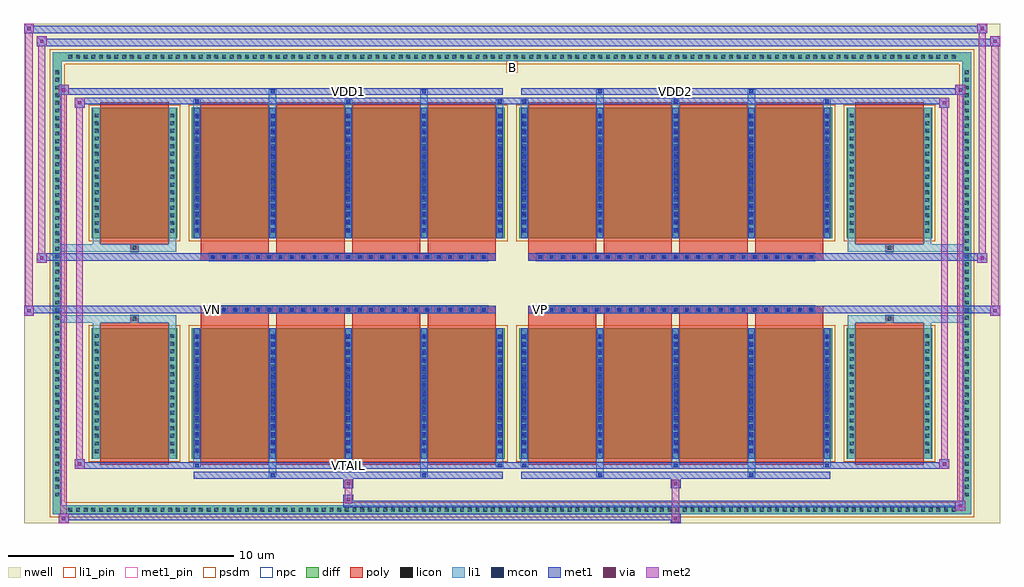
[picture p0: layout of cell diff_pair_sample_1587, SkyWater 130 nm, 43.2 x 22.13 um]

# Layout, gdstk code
import gdstk
lib = gdstk.Library(unit=1e-6, precision=5e-09)
def R(c, l, rs):  # rectangles x0, y0, x1, y1
    for r in rs: c.add(gdstk.rectangle(r[:2], r[2:], *l))
def A(c, l, x, y, w, h, nx, ny, dx, dy):  # array of equal rectangles
    R(c, l, [(x+i*dx, y+j*dy, x+i*dx+w, y+j*dy+h) for i in range(nx) for j in range(ny)])
def P(c, l, *ps):  # polygons
    for p in ps: c.add(gdstk.Polygon(p, *l))
nwell = (64, 20)
diff = (65, 20)
poly = (66, 20)
licon = (66, 44)
li1_pin = (67, 16)
li1 = (67, 20)
mcon = (67, 44)
met1_pin = (68, 16)
met1 = (68, 20)
via = (68, 44)
met2 = (69, 20)
psdm = (94, 20)
npc = (95, 20)

diff_pair_sample_1587 = lib.new_cell('diff_pair_sample_1587')
R(diff_pair_sample_1587, nwell, [(-21.6,-10.63,21.6,11.5), (-18.92,-8.82,-0.01,-0.8), (0.01,-8.82,18.92,-0.8), (-18.92,0.8,-0.01,8.82), (0.01,0.8,18.92,8.82)])
A(diff_pair_sample_1587, diff, -19.755, -10.23, 0.41, 0.41, 116, 2, 0.34, 20.05)
A(diff_pair_sample_1587, diff, -20.33, -9.555, 0.41, 0.41, 1, 56, 0, 0.34)
A(diff_pair_sample_1587, diff, 19.92, -9.555, 0.41, 0.41, 1, 56, 0, 0.34)
R(diff_pair_sample_1587, diff, [(-19.755,-10.23,19.755,-9.82), (-20.33,-9.555,-19.92,9.555), (19.92,-9.555,20.33,9.555), (-18.61,-7.775,-14.81,-1.985), (-14.17,-7.775,-0.32,-1.985), (0.32,-7.775,14.17,-1.985), (14.81,-7.775,18.61,-1.985), (-18.61,1.985,-14.81,7.775), (-14.17,1.985,-0.32,7.775), (0.32,1.985,14.17,7.775), (14.81,1.985,18.61,7.775), (-19.755,9.82,19.755,10.23)])
P(diff_pair_sample_1587, diff, [(20.33,10.23),(-20.33,10.23),(-20.33,-9.82),(-19.92,-9.82),(-19.92,9.82),(19.92,9.82),(19.92,-9.82),(-19.92,-9.82),(-20.33,-9.82),(-20.33,-10.23),(20.33,-10.23)])
A(diff_pair_sample_1587, poly, -13.78, -8.025, 3.02, 6.29, 4, 2, 3.35, 9.76)
A(diff_pair_sample_1587, poly, 0.71, -8.025, 3.02, 6.29, 4, 2, 3.35, 9.76)
A(diff_pair_sample_1587, poly, -13.78, -1.735, 3.02, 0.405, 4, 2, 3.35, 3.065)
A(diff_pair_sample_1587, poly, 0.71, -1.735, 3.02, 0.405, 4, 2, 3.35, 3.065)
A(diff_pair_sample_1587, poly, -13.41, -1.33, 0.33, 0.33, 25, 2, 0.5, 2.33)
A(diff_pair_sample_1587, poly, 1.08, -1.33, 0.33, 0.33, 25, 2, 0.5, 2.33)
R(diff_pair_sample_1587, poly, [(-18.22,-8.025,-15.2,-1.735), (15.2,-8.025,18.22,-1.735), (-16.875,-1.735,-16.545,-1.405), (-16.875,-1.735,-16.545,-1.405), (16.545,-1.735,16.875,-1.405), (16.545,-1.735,16.875,-1.405), (-13.78,-1.33,-0.71,-1), (0.71,-1.33,13.78,-1), (-13.78,1,-0.71,1.33), (0.71,1,13.78,1.33), (-16.875,1.405,-16.545,1.735), (-16.875,1.405,-16.545,1.735), (16.545,1.405,16.875,1.735), (16.545,1.405,16.875,1.735), (-18.22,1.735,-15.2,8.025), (15.2,1.735,18.22,8.025)])
A(diff_pair_sample_1587, licon, -19.635, -10.11, 0.17, 0.17, 116, 2, 0.34, 20.05)
A(diff_pair_sample_1587, licon, -20.21, -9.435, 0.17, 0.17, 1, 56, 0, 0.34)
A(diff_pair_sample_1587, licon, 20.04, -9.435, 0.17, 0.17, 1, 56, 0, 0.34)
A(diff_pair_sample_1587, licon, -18.47, -7.515, 0.17, 0.17, 1, 16, 0, 0.34)
A(diff_pair_sample_1587, licon, -15.12, -7.515, 0.17, 0.17, 1, 16, 0, 0.34)
A(diff_pair_sample_1587, licon, -14.03, -7.515, 0.17, 0.17, 5, 16, 3.35, 0.34)
A(diff_pair_sample_1587, licon, 0.46, -7.515, 0.17, 0.17, 5, 16, 3.35, 0.34)
A(diff_pair_sample_1587, licon, 14.95, -7.515, 0.17, 0.17, 1, 16, 0, 0.34)
A(diff_pair_sample_1587, licon, 18.3, -7.515, 0.17, 0.17, 1, 16, 0, 0.34)
A(diff_pair_sample_1587, licon, -13.33, -1.25, 0.17, 0.17, 25, 2, 0.5, 2.33)
A(diff_pair_sample_1587, licon, 1.16, -1.25, 0.17, 0.17, 25, 2, 0.5, 2.33)
A(diff_pair_sample_1587, licon, -18.47, 2.245, 0.17, 0.17, 1, 16, 0, 0.34)
A(diff_pair_sample_1587, licon, -15.12, 2.245, 0.17, 0.17, 1, 16, 0, 0.34)
A(diff_pair_sample_1587, licon, -14.03, 2.245, 0.17, 0.17, 5, 16, 3.35, 0.34)
A(diff_pair_sample_1587, licon, 0.46, 2.245, 0.17, 0.17, 5, 16, 3.35, 0.34)
A(diff_pair_sample_1587, licon, 14.95, 2.245, 0.17, 0.17, 1, 16, 0, 0.34)
A(diff_pair_sample_1587, licon, 18.3, 2.245, 0.17, 0.17, 1, 16, 0, 0.34)
R(diff_pair_sample_1587, licon, [(-16.795,-1.655,-16.625,-1.485), (16.625,-1.655,16.795,-1.485), (-16.795,1.485,-16.625,1.655), (16.625,1.485,16.795,1.655)])
R(diff_pair_sample_1587, li1_pin, [(-0.25,9.32,0.25,9.82)])
A(diff_pair_sample_1587, li1, -19.715, -10.19, 0.33, 0.33, 116, 2, 0.34, 20.05)
A(diff_pair_sample_1587, li1, -20.29, -9.515, 0.33, 0.33, 1, 56, 0, 0.34)
A(diff_pair_sample_1587, li1, 19.96, -9.515, 0.33, 0.33, 1, 56, 0, 0.34)
A(diff_pair_sample_1587, li1, -14.11, -8.15, 0.33, 0.375, 3, 2, 6.7, 15.925)
A(diff_pair_sample_1587, li1, -14.03, -8.15, 0.17, 0.17, 3, 2, 6.7, 16.13)
A(diff_pair_sample_1587, li1, 0.38, -8.15, 0.33, 0.375, 3, 2, 6.7, 15.925)
A(diff_pair_sample_1587, li1, 0.46, -8.15, 0.17, 0.17, 3, 2, 6.7, 16.13)
A(diff_pair_sample_1587, li1, -14.11, -7.775, 0.33, 5.79, 5, 2, 3.35, 9.76)
A(diff_pair_sample_1587, li1, 0.38, -7.775, 0.33, 5.79, 5, 2, 3.35, 9.76)
A(diff_pair_sample_1587, li1, -18.55, -7.595, 0.33, 0.33, 1, 16, 0, 0.34)
A(diff_pair_sample_1587, li1, -15.2, -7.595, 0.33, 0.33, 1, 16, 0, 0.34)
A(diff_pair_sample_1587, li1, -14.11, -7.595, 0.33, 0.33, 5, 16, 3.35, 0.34)
A(diff_pair_sample_1587, li1, 0.38, -7.595, 0.33, 0.33, 5, 16, 3.35, 0.34)
A(diff_pair_sample_1587, li1, 14.87, -7.595, 0.33, 0.33, 1, 16, 0, 0.34)
A(diff_pair_sample_1587, li1, 18.22, -7.595, 0.33, 0.33, 1, 16, 0, 0.34)
A(diff_pair_sample_1587, li1, -14.03, -7.485, 0.17, 0.17, 5, 15, 3.35, 0.36)
A(diff_pair_sample_1587, li1, -14.03, -7.485, 0.17, 5.21, 5, 2, 3.35, 9.76)
A(diff_pair_sample_1587, li1, 0.46, -7.485, 0.17, 0.17, 5, 15, 3.35, 0.36)
A(diff_pair_sample_1587, li1, 0.46, -7.485, 0.17, 5.21, 5, 2, 3.35, 9.76)
A(diff_pair_sample_1587, li1, -13.41, -1.33, 0.33, 0.33, 25, 2, 0.5, 2.33)
A(diff_pair_sample_1587, li1, 1.08, -1.33, 0.33, 0.33, 25, 2, 0.5, 2.33)
A(diff_pair_sample_1587, li1, -18.55, 2.165, 0.33, 0.33, 1, 16, 0, 0.34)
A(diff_pair_sample_1587, li1, -15.2, 2.165, 0.33, 0.33, 1, 16, 0, 0.34)
A(diff_pair_sample_1587, li1, -14.11, 2.165, 0.33, 0.33, 5, 16, 3.35, 0.34)
A(diff_pair_sample_1587, li1, 0.38, 2.165, 0.33, 0.33, 5, 16, 3.35, 0.34)
A(diff_pair_sample_1587, li1, 14.87, 2.165, 0.33, 0.33, 1, 16, 0, 0.34)
A(diff_pair_sample_1587, li1, 18.22, 2.165, 0.33, 0.33, 1, 16, 0, 0.34)
A(diff_pair_sample_1587, li1, -14.03, 2.275, 0.17, 0.17, 5, 15, 3.35, 0.36)
A(diff_pair_sample_1587, li1, 0.46, 2.275, 0.17, 0.17, 5, 15, 3.35, 0.36)
R(diff_pair_sample_1587, li1, [(-20.33,-10.23,-19.92,-9.82), (-20.33,-10.23,-19.92,-9.82), (-19.92,-10.23,19.92,-9.82), (19.92,-10.23,20.33,-9.82), (19.92,-10.23,20.33,-9.82), (-20.33,-9.82,-19.92,9.82), (19.92,-9.82,20.33,9.82), (-10.76,-8.58,-10.43,-7.775), (-10.68,-8.58,-10.51,-8.41), (-4.06,-8.58,-3.73,-7.775), (-3.98,-8.58,-3.81,-8.41), (3.73,-8.58,4.06,-7.775), (3.81,-8.58,3.98,-8.41), (10.43,-8.58,10.76,-7.775), (10.51,-8.58,10.68,-8.41), (-18.55,-7.775,-18.22,-1.985), (-15.2,-7.775,-14.87,-1.985), (14.87,-7.775,15.2,-1.985), (18.22,-7.775,18.55,-1.985), (-18.55,-1.985,-18.22,-1.405), (-15.2,-1.985,-14.87,-1.405), (14.87,-1.985,15.2,-1.405), (18.22,-1.985,18.55,-1.405), (-20.33,-1.735,-16.875,-1.405), (-18.55,-1.735,-16.875,-1.405), (-16.875,-1.735,-16.545,-1.405), (-16.545,-1.735,-14.87,-1.405), (14.87,-1.735,16.545,-1.405), (16.545,-1.735,16.875,-1.405), (16.545,-1.735,20.33,-1.405), (16.875,-1.735,18.55,-1.405), (-20.33,1.405,-16.875,1.735), (-18.55,1.405,-16.875,1.735), (-18.55,1.405,-18.22,1.985), (-16.875,1.405,-16.545,1.735), (-16.545,1.405,-14.87,1.735), (-15.2,1.405,-14.87,1.985), (14.87,1.405,16.545,1.735), (14.87,1.405,15.2,1.985), (16.545,1.405,16.875,1.735), (16.545,1.405,20.33,1.735), (16.875,1.405,18.55,1.735), (18.22,1.405,18.55,1.985), (-18.55,1.985,-18.22,7.775), (-15.2,1.985,-14.87,7.775), (14.87,1.985,15.2,7.775), (18.22,1.985,18.55,7.775), (-10.76,7.775,-10.43,8.58), (-4.06,7.775,-3.73,8.58), (3.73,7.775,4.06,8.58), (10.43,7.775,10.76,8.58), (-10.68,8.41,-10.51,8.58), (-3.98,8.41,-3.81,8.58), (3.81,8.41,3.98,8.58), (10.51,8.41,10.68,8.58), (-20.33,9.82,-19.92,10.23), (-20.33,9.82,-19.92,10.23), (-19.92,9.82,19.92,10.23), (19.92,9.82,20.33,10.23), (19.92,9.82,20.33,10.23)])
A(diff_pair_sample_1587, mcon, -14.03, -8.15, 0.17, 0.17, 3, 2, 6.7, 16.13)
A(diff_pair_sample_1587, mcon, 0.46, -8.15, 0.17, 0.17, 3, 2, 6.7, 16.13)
A(diff_pair_sample_1587, mcon, -14.03, -7.485, 0.17, 0.17, 5, 15, 3.35, 0.36)
A(diff_pair_sample_1587, mcon, 0.46, -7.485, 0.17, 0.17, 5, 15, 3.35, 0.36)
A(diff_pair_sample_1587, mcon, -13.33, -1.25, 0.17, 0.17, 25, 2, 0.5, 2.33)
A(diff_pair_sample_1587, mcon, 1.16, -1.25, 0.17, 0.17, 25, 2, 0.5, 2.33)
A(diff_pair_sample_1587, mcon, -14.03, 2.275, 0.17, 0.17, 5, 15, 3.35, 0.36)
A(diff_pair_sample_1587, mcon, 0.46, 2.275, 0.17, 0.17, 5, 15, 3.35, 0.36)
R(diff_pair_sample_1587, mcon, [(-10.68,-8.58,-10.51,-8.41), (-3.98,-8.58,-3.81,-8.41), (3.81,-8.58,3.98,-8.41), (10.51,-8.58,10.68,-8.41), (-10.68,8.41,-10.51,8.58), (-3.98,8.41,-3.81,8.58), (3.81,8.41,3.98,8.58), (10.51,8.41,10.68,8.58)])
R(diff_pair_sample_1587, met1_pin, [(-7.38,-8.19,-7.11,-7.92), (-13.38,-1.29,-13.11,-1.02), (1.11,-1.29,1.38,-1.02), (-7.38,8.37,-7.11,8.64), (7.11,8.37,7.38,8.64)])
A(diff_pair_sample_1587, met1, -14.09, -8.21, 0.29, 0.29, 3, 2, 6.7, 16.13)
A(diff_pair_sample_1587, met1, 0.4, -8.21, 0.29, 0.29, 3, 2, 6.7, 16.13)
A(diff_pair_sample_1587, met1, -14.09, -7.775, 0.29, 5.79, 5, 2, 3.35, 9.76)
A(diff_pair_sample_1587, met1, 0.4, -7.775, 0.29, 5.79, 5, 2, 3.35, 9.76)
A(diff_pair_sample_1587, met1, -14.09, -7.545, 0.29, 0.29, 5, 15, 3.35, 0.36)
A(diff_pair_sample_1587, met1, 0.4, -7.545, 0.29, 0.29, 5, 15, 3.35, 0.36)
A(diff_pair_sample_1587, met1, -13.39, -1.31, 0.29, 0.29, 25, 2, 0.5, 2.33)
A(diff_pair_sample_1587, met1, 1.1, -1.31, 0.29, 0.29, 25, 2, 0.5, 2.33)
A(diff_pair_sample_1587, met1, -14.09, 2.215, 0.29, 0.29, 5, 15, 3.35, 0.36)
A(diff_pair_sample_1587, met1, 0.4, 2.215, 0.29, 0.29, 5, 15, 3.35, 0.36)
R(diff_pair_sample_1587, met1, [(-20.06,-10.63,-19.63,-10.2), (7.03,-10.63,7.46,-10.2), (-20.06,-10.49,7.46,-10.2), (19.63,-10.06,20.06,-9.63), (-7.46,-9.92,20.06,-9.63), (-7.46,-9.78,-7.03,-9.35), (-7.46,-9.07,-7.03,-8.64), (7.03,-9.07,7.46,-8.64), (-14.09,-8.64,-0.4,-8.35), (-10.74,-8.64,-10.45,-8.35), (-4.04,-8.64,-3.75,-8.35), (0.4,-8.64,14.09,-8.35), (3.75,-8.64,4.04,-8.35), (10.45,-8.64,10.74,-8.35), (-19.35,-8.21,-18.92,-7.78), (-19.35,-8.21,-14.09,-7.92), (-14.09,-8.21,-0.4,-7.92), (-0.4,-8.21,0.4,-7.92), (0.4,-8.21,14.09,-7.92), (14.09,-8.21,19.35,-7.92), (18.92,-8.21,19.35,-7.78), (-21.6,-1.43,-21.17,-1), (21.17,-1.43,21.6,-1), (-21.6,-1.33,-0.71,-1), (-13.78,-1.33,-0.71,-1), (0.71,-1.33,13.78,-1), (0.71,-1.33,21.6,-1), (-21.03,0.9,-20.6,1.33), (20.6,0.9,21.03,1.33), (-21.03,1,-13.78,1.33), (-13.78,1,-0.71,1.33), (0.71,1,13.78,1.33), (13.78,1,21.03,1.33), (-19.35,7.78,-18.92,8.21), (18.92,7.78,19.35,8.21), (-19.35,7.92,-14.09,8.21), (-14.09,7.92,-0.4,8.21), (-0.4,7.92,0.4,8.21), (0.4,7.92,14.09,8.21), (14.09,7.92,19.35,8.21), (-20.06,8.35,-19.63,8.78), (-20.06,8.35,-14.09,8.64), (-14.09,8.35,-0.4,8.64), (-10.74,8.35,-10.45,8.64), (-4.04,8.35,-3.75,8.64), (0.4,8.35,14.09,8.64), (3.75,8.35,4.04,8.64), (10.45,8.35,10.74,8.64), (14.09,8.35,20.06,8.64), (19.63,8.35,20.06,8.78), (-21.03,10.5,-20.6,10.93), (-21.03,10.5,-18.92,10.83), (-18.92,10.5,18.92,10.83), (18.92,10.5,21.6,10.83), (21.17,10.5,21.6,10.93), (-21.6,11.07,-21.17,11.5), (-21.6,11.07,-18.92,11.4), (-18.92,11.07,18.92,11.4), (18.92,11.07,21.03,11.4), (20.6,11.07,21.03,11.5)])
R(diff_pair_sample_1587, via, [(-19.92,-10.49,-19.77,-10.34), (7.17,-10.49,7.32,-10.34), (19.77,-9.92,19.92,-9.77), (-7.32,-9.64,-7.17,-9.49), (-7.32,-8.93,-7.17,-8.78), (7.17,-8.93,7.32,-8.78), (-19.21,-8.07,-19.06,-7.92), (19.06,-8.07,19.21,-7.92), (-21.46,-1.29,-21.31,-1.14), (21.31,-1.29,21.46,-1.14), (-20.89,1.04,-20.74,1.19), (20.74,1.04,20.89,1.19), (-19.21,7.92,-19.06,8.07), (19.06,7.92,19.21,8.07), (-19.92,8.49,-19.77,8.64), (19.77,8.49,19.92,8.64), (-20.89,10.64,-20.74,10.79), (21.31,10.64,21.46,10.79), (-21.46,11.21,-21.31,11.36), (20.74,11.21,20.89,11.36)])
R(diff_pair_sample_1587, met2, [(-20.06,-10.63,-19.63,-10.2), (-19.99,-10.63,-19.7,8.78), (-19.7,-10.63,-19.63,-10.2), (-20.01,-10.58,-19.68,-10.25), (7.08,-10.58,7.41,-10.25), (7.08,-10.25,7.41,-9.02), (19.63,-10.06,20.06,-9.63), (19.7,-10.06,19.99,8.78), (19.99,-10.06,20.06,-9.63), (19.68,-10.01,20.01,-9.68), (-7.41,-9.73,-7.08,-9.4), (-7.41,-9.4,-7.08,-9.02), (-7.41,-9.02,-7.08,-8.69), (7.08,-9.02,7.41,-8.69), (-19.35,-8.21,-18.92,-7.78), (-19.28,-8.21,-18.99,8.21), (-18.99,-8.21,-18.92,-7.78), (18.92,-8.21,19.35,-7.78), (18.99,-8.21,19.28,8.21), (19.28,-8.21,19.35,-7.78), (-19.3,-8.16,-18.97,-7.83), (18.97,-8.16,19.3,-7.83), (-21.6,-1.43,-21.17,-1), (-21.55,-1.43,-21.22,11.5), (-21.22,-1.43,-21.17,-1), (21.17,-1.43,21.6,-1), (21.22,-1.43,21.55,10.93), (21.55,-1.43,21.6,-1), (-21.55,-1.38,-21.22,-1.05), (21.22,-1.38,21.55,-1.05), (-21.03,0.9,-20.6,1.33), (-20.98,0.9,-20.65,10.93), (-20.65,0.9,-20.6,1.33), (20.6,0.9,21.03,1.33), (20.65,0.9,20.98,11.5), (20.98,0.9,21.03,1.33), (-20.98,0.95,-20.65,1.28), (20.65,0.95,20.98,1.28), (-19.35,7.78,-18.92,8.21), (-18.99,7.78,-18.92,8.21), (18.92,7.78,19.35,8.21), (19.28,7.78,19.35,8.21), (-19.3,7.83,-18.97,8.16), (18.97,7.83,19.3,8.16), (-20.06,8.35,-19.63,8.78), (-19.7,8.35,-19.63,8.78), (19.63,8.35,20.06,8.78), (19.99,8.35,20.06,8.78), (-20.01,8.4,-19.68,8.73), (19.68,8.4,20.01,8.73), (-21.03,10.5,-20.6,10.93), (-20.65,10.5,-20.6,10.93), (21.17,10.5,21.6,10.93), (21.55,10.5,21.6,10.93), (-20.98,10.55,-20.65,10.88), (21.22,10.55,21.55,10.88), (-21.6,11.07,-21.17,11.5), (-21.22,11.07,-21.17,11.5), (20.6,11.07,21.03,11.5), (20.98,11.07,21.03,11.5), (-21.55,11.12,-21.22,11.45), (20.65,11.12,20.98,11.45)])
R(diff_pair_sample_1587, psdm, [(-18.74,-7.905,-14.68,-1.855), (-14.3,-7.905,-0.19,-1.855), (0.19,-7.905,14.3,-1.855), (14.68,-7.905,18.74,-1.855), (-18.74,1.855,-14.68,7.905), (-14.3,1.855,-0.19,7.905), (0.19,1.855,14.3,7.905), (14.68,1.855,18.74,7.905)])
P(diff_pair_sample_1587, psdm, [(20.46,10.36),(-20.46,10.36),(-20.46,-9.69),(-19.79,-9.69),(-19.79,9.69),(19.79,9.69),(19.79,-9.69),(-19.79,-9.69),(-20.46,-9.69),(-20.46,-10.36),(20.46,-10.36)])
A(diff_pair_sample_1587, npc, -13.43, -1.35, 0.37, 0.37, 25, 2, 0.5, 2.33)
A(diff_pair_sample_1587, npc, 1.06, -1.35, 0.37, 0.37, 25, 2, 0.5, 2.33)
R(diff_pair_sample_1587, npc, [(-16.895,-1.755,-16.525,-1.385), (16.525,-1.755,16.895,-1.385), (-13.43,-1.35,-12.56,-0.98), (-13.43,-1.35,-12.56,-0.98), (-12.93,-1.35,-12.06,-0.98), (-12.93,-1.35,-12.06,-0.98), (-12.43,-1.35,-11.56,-0.98), (-12.43,-1.35,-11.56,-0.98), (-11.93,-1.35,-11.06,-0.98), (-11.93,-1.35,-11.06,-0.98), (-11.43,-1.35,-10.56,-0.98), (-11.43,-1.35,-10.56,-0.98), (-10.93,-1.35,-10.06,-0.98), (-10.93,-1.35,-10.06,-0.98), (-10.43,-1.35,-9.56,-0.98), (-10.43,-1.35,-9.56,-0.98), (-9.93,-1.35,-9.06,-0.98), (-9.93,-1.35,-9.06,-0.98), (-9.43,-1.35,-8.56,-0.98), (-9.43,-1.35,-8.56,-0.98), (-8.93,-1.35,-8.06,-0.98), (-8.93,-1.35,-8.06,-0.98), (-8.43,-1.35,-7.56,-0.98), (-8.43,-1.35,-7.56,-0.98), (-7.93,-1.35,-7.06,-0.98), (-7.93,-1.35,-7.06,-0.98), (-7.43,-1.35,-6.56,-0.98), (-7.43,-1.35,-6.56,-0.98), (-6.93,-1.35,-6.06,-0.98), (-6.93,-1.35,-6.06,-0.98), (-6.43,-1.35,-5.56,-0.98), (-6.43,-1.35,-5.56,-0.98), (-5.93,-1.35,-5.06,-0.98), (-5.93,-1.35,-5.06,-0.98), (-5.43,-1.35,-4.56,-0.98), (-5.43,-1.35,-4.56,-0.98), (-4.93,-1.35,-4.06,-0.98), (-4.93,-1.35,-4.06,-0.98), (-4.43,-1.35,-3.56,-0.98), (-4.43,-1.35,-3.56,-0.98), (-3.93,-1.35,-3.06,-0.98), (-3.93,-1.35,-3.06,-0.98), (-3.43,-1.35,-2.56,-0.98), (-3.43,-1.35,-2.56,-0.98), (-2.93,-1.35,-2.06,-0.98), (-2.93,-1.35,-2.06,-0.98), (-2.43,-1.35,-1.56,-0.98), (-2.43,-1.35,-1.56,-0.98), (-1.93,-1.35,-1.06,-0.98), (-1.93,-1.35,-1.06,-0.98), (1.06,-1.35,1.93,-0.98), (1.06,-1.35,1.93,-0.98), (1.56,-1.35,2.43,-0.98), (1.56,-1.35,2.43,-0.98), (2.06,-1.35,2.93,-0.98), (2.06,-1.35,2.93,-0.98), (2.56,-1.35,3.43,-0.98), (2.56,-1.35,3.43,-0.98), (3.06,-1.35,3.93,-0.98), (3.06,-1.35,3.93,-0.98), (3.56,-1.35,4.43,-0.98), (3.56,-1.35,4.43,-0.98), (4.06,-1.35,4.93,-0.98), (4.06,-1.35,4.93,-0.98), (4.56,-1.35,5.43,-0.98), (4.56,-1.35,5.43,-0.98), (5.06,-1.35,5.93,-0.98), (5.06,-1.35,5.93,-0.98), (5.56,-1.35,6.43,-0.98), (5.56,-1.35,6.43,-0.98), (6.06,-1.35,6.93,-0.98), (6.06,-1.35,6.93,-0.98), (6.56,-1.35,7.43,-0.98), (6.56,-1.35,7.43,-0.98), (7.06,-1.35,7.93,-0.98), (7.06,-1.35,7.93,-0.98), (7.56,-1.35,8.43,-0.98), (7.56,-1.35,8.43,-0.98), (8.06,-1.35,8.93,-0.98), (8.06,-1.35,8.93,-0.98), (8.56,-1.35,9.43,-0.98), (8.56,-1.35,9.43,-0.98), (9.06,-1.35,9.93,-0.98), (9.06,-1.35,9.93,-0.98), (9.56,-1.35,10.43,-0.98), (9.56,-1.35,10.43,-0.98), (10.06,-1.35,10.93,-0.98), (10.06,-1.35,10.93,-0.98), (10.56,-1.35,11.43,-0.98), (10.56,-1.35,11.43,-0.98), (11.06,-1.35,11.93,-0.98), (11.06,-1.35,11.93,-0.98), (11.56,-1.35,12.43,-0.98), (11.56,-1.35,12.43,-0.98), (12.06,-1.35,12.93,-0.98), (12.06,-1.35,12.93,-0.98), (12.56,-1.35,13.43,-0.98), (12.56,-1.35,13.43,-0.98), (-13.43,0.98,-12.56,1.35), (-13.43,0.98,-12.56,1.35), (-12.93,0.98,-12.06,1.35), (-12.93,0.98,-12.06,1.35), (-12.43,0.98,-11.56,1.35), (-12.43,0.98,-11.56,1.35), (-11.93,0.98,-11.06,1.35), (-11.93,0.98,-11.06,1.35), (-11.43,0.98,-10.56,1.35), (-11.43,0.98,-10.56,1.35), (-10.93,0.98,-10.06,1.35), (-10.93,0.98,-10.06,1.35), (-10.43,0.98,-9.56,1.35), (-10.43,0.98,-9.56,1.35), (-9.93,0.98,-9.06,1.35), (-9.93,0.98,-9.06,1.35), (-9.43,0.98,-8.56,1.35), (-9.43,0.98,-8.56,1.35), (-8.93,0.98,-8.06,1.35), (-8.93,0.98,-8.06,1.35), (-8.43,0.98,-7.56,1.35), (-8.43,0.98,-7.56,1.35), (-7.93,0.98,-7.06,1.35), (-7.93,0.98,-7.06,1.35), (-7.43,0.98,-6.56,1.35), (-7.43,0.98,-6.56,1.35), (-6.93,0.98,-6.06,1.35), (-6.93,0.98,-6.06,1.35), (-6.43,0.98,-5.56,1.35), (-6.43,0.98,-5.56,1.35), (-5.93,0.98,-5.06,1.35), (-5.93,0.98,-5.06,1.35), (-5.43,0.98,-4.56,1.35), (-5.43,0.98,-4.56,1.35), (-4.93,0.98,-4.06,1.35), (-4.93,0.98,-4.06,1.35), (-4.43,0.98,-3.56,1.35), (-4.43,0.98,-3.56,1.35), (-3.93,0.98,-3.06,1.35), (-3.93,0.98,-3.06,1.35), (-3.43,0.98,-2.56,1.35), (-3.43,0.98,-2.56,1.35), (-2.93,0.98,-2.06,1.35), (-2.93,0.98,-2.06,1.35), (-2.43,0.98,-1.56,1.35), (-2.43,0.98,-1.56,1.35), (-1.93,0.98,-1.06,1.35), (-1.93,0.98,-1.06,1.35), (1.06,0.98,1.93,1.35), (1.06,0.98,1.93,1.35), (1.56,0.98,2.43,1.35), (1.56,0.98,2.43,1.35), (2.06,0.98,2.93,1.35), (2.06,0.98,2.93,1.35), (2.56,0.98,3.43,1.35), (2.56,0.98,3.43,1.35), (3.06,0.98,3.93,1.35), (3.06,0.98,3.93,1.35), (3.56,0.98,4.43,1.35), (3.56,0.98,4.43,1.35), (4.06,0.98,4.93,1.35), (4.06,0.98,4.93,1.35), (4.56,0.98,5.43,1.35), (4.56,0.98,5.43,1.35), (5.06,0.98,5.93,1.35), (5.06,0.98,5.93,1.35), (5.56,0.98,6.43,1.35), (5.56,0.98,6.43,1.35), (6.06,0.98,6.93,1.35), (6.06,0.98,6.93,1.35), (6.56,0.98,7.43,1.35), (6.56,0.98,7.43,1.35), (7.06,0.98,7.93,1.35), (7.06,0.98,7.93,1.35), (7.56,0.98,8.43,1.35), (7.56,0.98,8.43,1.35), (8.06,0.98,8.93,1.35), (8.06,0.98,8.93,1.35), (8.56,0.98,9.43,1.35), (8.56,0.98,9.43,1.35), (9.06,0.98,9.93,1.35), (9.06,0.98,9.93,1.35), (9.56,0.98,10.43,1.35), (9.56,0.98,10.43,1.35), (10.06,0.98,10.93,1.35), (10.06,0.98,10.93,1.35), (10.56,0.98,11.43,1.35), (10.56,0.98,11.43,1.35), (11.06,0.98,11.93,1.35), (11.06,0.98,11.93,1.35), (11.56,0.98,12.43,1.35), (11.56,0.98,12.43,1.35), (12.06,0.98,12.93,1.35), (12.06,0.98,12.93,1.35), (12.56,0.98,13.43,1.35), (12.56,0.98,13.43,1.35), (-16.895,1.385,-16.525,1.755), (16.525,1.385,16.895,1.755)])
diff_pair_sample_1587.add(gdstk.Label('VTAIL', (-7.245,-8.055), layer=68, texttype=5))
diff_pair_sample_1587.add(gdstk.Label('VN', (-13.245,-1.155), layer=68, texttype=5))
diff_pair_sample_1587.add(gdstk.Label('VP', (1.245,-1.155), layer=68, texttype=5))
diff_pair_sample_1587.add(gdstk.Label('B', (0,9.57), layer=67, texttype=5))
diff_pair_sample_1587.add(gdstk.Label('VDD2', (7.245,8.505), layer=68, texttype=5))
diff_pair_sample_1587.add(gdstk.Label('VDD1', (-7.245,8.505), layer=68, texttype=5))

lib.write_gds('diff_pair_sample_1587.gds')
